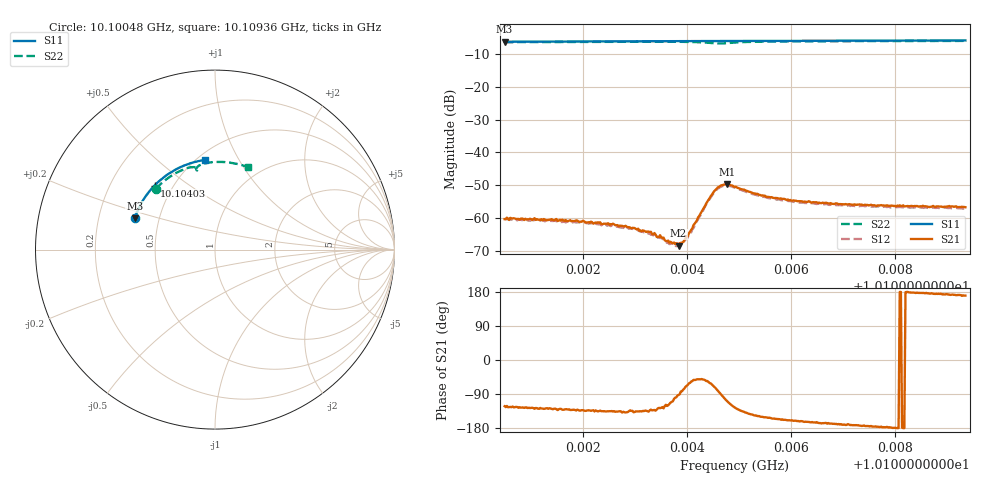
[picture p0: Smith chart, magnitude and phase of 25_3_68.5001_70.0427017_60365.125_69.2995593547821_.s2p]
#  HZ  S  RI  R  50.00
! Rohde & Schwarz Vector Network Analyzer
! Rohde-Schwarz,ZNB20-2Port,1311601062101988,3.16
! Created: UTC 3/20/2024, 5:04:51 PM
! freq[Hz]  re:S11  im:S11  re:S21  im:S21  re:S12  im:S12  re:S22  im:S22
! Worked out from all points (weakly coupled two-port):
!   401 points, 10.10048 GHz to 10.10936 GHz, reference 50 ohm
!   highest |S21| = -49.73 dB at 10.10477 GHz (marker M1); lowest = -68.3 dB at 10.10383 GHz (marker M2)
!   lowest |S11| = -6.4 dB at 10.10048 GHz (marker M3), VSWR 2.85, Z = 18.1 + j8.17 ohm
!   |S11| at or under -10 dB: nowhere
!   |S22| runs from -6.9 to -6.1 dB; largest |S21 - S12| = 0.00036
!   S11 on the Smith chart (normalised r, x): 10.10048 GHz: 0.36, +0.16; 10.10403 GHz: 0.40, +0.37; 10.10936 GHz: 0.55, +0.73
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1.0100484e10  -0.4474 0.1737  -0.000515 -0.000823  -0.000467 -0.000843  -0.3296 0.3386
1.0100639e10  -0.4444 0.1827  -0.000542 -0.000837  -0.000492 -0.000811  -0.3228 0.3458
1.010197e10  -0.4114 0.2567  -0.000595 -0.000653  -0.000562 -0.000653  -0.2571 0.4019
1.0102836e10  -0.3833 0.3012  -0.000552 -0.000497  -0.000477 -0.000544  -0.2085 0.4315
1.0103257e10  -0.3681 0.3217  -0.000453 -0.000431  -0.000378 -0.000443  -0.1829 0.4437
1.0103457e10  -0.3605 0.3311  -0.000307 -0.000417  -0.000282 -0.000437  -0.1701 0.4491
1.0103501e10  -0.3586 0.3331  -0.000301 -0.000415  -0.000269 -0.000429  -0.1673 0.45
1.0103634e10  -0.3535 0.3392  -0.000225 -0.0004  -0.000192 -0.000379  -0.1584 0.4532
1.0103834e10  -0.3452 0.3485  -1.54e-05 -0.000383  4.19e-05 -0.000396  -0.1443 0.457
1.0103878e10  -0.3434 0.3503  5.21e-05 -0.000419  6.6e-05 -0.000407  -0.1411 0.4576
1.0103923e10  -0.3415 0.3522  8.78e-05 -0.000428  0.000115 -0.00044  -0.1378 0.4584
1.0104034e10  -0.337 0.357  0.00028 -0.000521  0.000297 -0.000492  -0.1291 0.4595
1.0104389e10  -0.3215 0.3722  0.00101 -0.00147  0.00109 -0.00134  -0.1015 0.4534
1.0104522e10  -0.3155 0.3776  0.000853 -0.00244  0.00101 -0.00226  -0.0968 0.4453
1.0104633e10  -0.3108 0.3821  0.000115 -0.00308  0.00038 -0.00294  -0.0996 0.4413
1.0104766e10  -0.3046 0.3872  -0.00101 -0.0031  -0.000705 -0.00304  -0.1044 0.4455
1.0104921e10  -0.2975 0.3935  -0.00176 -0.00244  -0.00151 -0.0025  -0.1016 0.4563
1.010521e10  -0.284 0.4043  -0.002 -0.00152  -0.0018 -0.0016  -0.084 0.4707
1.0105565e10  -0.2665 0.417  -0.00187 -0.000972  -0.00171 -0.00108  -0.0595 0.4795
1.0106408e10  -0.2231 0.444  -0.00167 -0.000488  -0.00158 -0.000603  -0.00268 0.4877
1.0107894e10  -0.1409 0.4797  -0.00154 -6.54e-05  -0.00147 -0.00022  0.0935 0.4828
1.0109359e10  -0.0547 0.4994  -0.00145 0.000257  -0.00142 6.6e-05  0.184 0.4594
